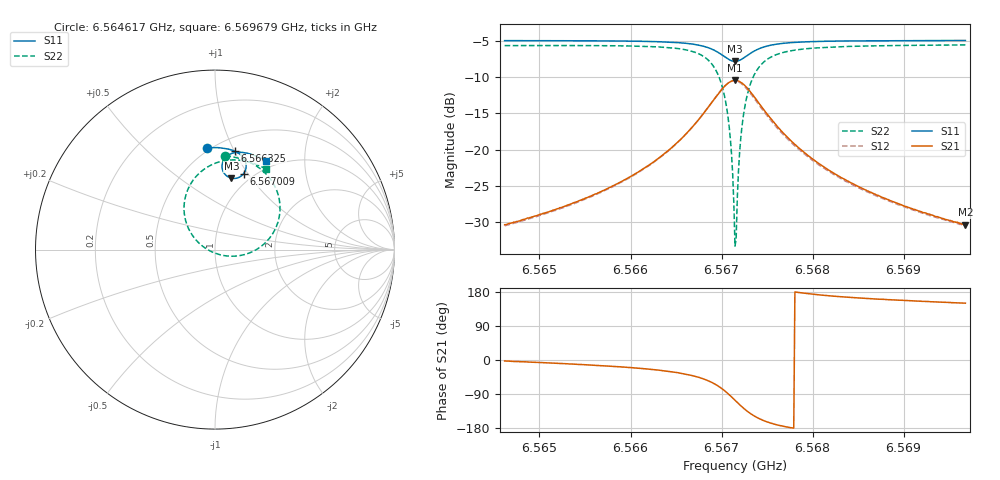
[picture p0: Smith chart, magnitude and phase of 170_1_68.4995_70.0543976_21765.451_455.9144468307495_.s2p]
#  HZ  S  RI  R  50.00
! Rohde & Schwarz Vector Network Analyzer
! Rohde-Schwarz,ZNB20-2Port,1311601062101988,3.16
! Created: UTC 3/20/2024, 5:11:18 PM
! freq[Hz]  re:S11  im:S11  re:S21  im:S21  re:S12  im:S12  re:S22  im:S22
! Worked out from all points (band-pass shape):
!   401 points, 6.564617 GHz to 6.569679 GHz, reference 50 ohm
!   highest |S21| = -10.41 dB at 6.567148 GHz (marker M1); lowest = -30.4 dB at 6.569679 GHz (marker M2)
!   |S21| within 3 dB of the highest: 6.566896 GHz to 6.567402 GHz (505.5 kHz wide, 0.0077 % of centre)
!   lowest |S11| = -7.8 dB at 6.567148 GHz (marker M3), VSWR 2.38, Z = 42.3 + j40.4 ohm
!   |S11| at or under -10 dB: nowhere
!   |S22| runs from -33.4 to -5.5 dB; largest |S21 - S12| = 0.015
!   S11 on the Smith chart (normalised r, x): 6.564617 GHz: 0.48, +0.81; 6.566325 GHz: 0.63, +1.01; 6.567009 GHz: 0.90, +0.95; 6.569679 GHz: 0.90, +1.31
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6.5646167e9  -0.0428 0.5674  0.0301 -0.00133  0.0295 -0.00191  0.0581 0.5228
6.5654647e9  0.0278 0.567  0.0439 -0.00933  0.0432 -0.00986  0.1414 0.5067
6.5663126e9  0.1099 0.5484  0.078 -0.0395  0.0768 -0.0405  0.2616 0.4432
6.5663252e9  0.1113 0.5477  0.0789 -0.0406  0.0777 -0.0414  0.2642 0.441
6.5666037e9  0.1449 0.5261  0.1013 -0.0769  0.0998 -0.0783  0.3243 0.3698
6.5668062e9  0.169 0.491  0.1145 -0.1379  0.1119 -0.1407  0.3614 0.2521
6.5669201e9  0.1729 0.4564  0.103 -0.1985  0.098 -0.2026  0.3449 0.1361
6.5670087e9  0.1591 0.4227  0.0622 -0.2563  0.0531 -0.2597  0.2698 0.0283
6.5670466e9  0.1457 0.4095  0.031 -0.2779  0.02 -0.2797  0.2116 -0.0103
6.5670846e9  0.1276 0.4  -0.00853 -0.2923  -0.0213 -0.2916  0.1387 -0.0333
6.5671099e9  0.1135 0.3968  -0.0381 -0.2956  -0.0515 -0.2929  0.0849 -0.0369
6.5671352e9  0.0988 0.3967  -0.0689 -0.2931  -0.082 -0.2879  0.0302 -0.0293
6.5671479e9  0.0913 0.398  -0.0841 -0.2896  -0.097 -0.2834  0.00372 -0.0211
6.5671732e9  0.0773 0.4029  -0.1128 -0.2784  -0.1247 -0.2697  -0.046 0.00275
6.5671985e9  0.0648 0.4107  -0.1384 -0.2617  -0.1486 -0.2513  -0.0885 0.0356
6.5672365e9  0.0504 0.426  -0.1683 -0.2301  -0.1755 -0.218  -0.1358 0.0951
6.5672871e9  0.0404 0.4496  -0.1907 -0.1837  -0.1939 -0.1713  -0.1677 0.1796
6.5673504e9  0.0402 0.477  -0.1967 -0.1303  -0.1964 -0.1196  -0.1692 0.2729
6.5675782e9  0.0782 0.5289  -0.1505 -0.029  -0.1471 -0.0243  -0.0659 0.444
6.5679958e9  0.1415 0.5422  -0.0859 0.00925  -0.0838 0.0106  0.0764 0.4985
6.5688437e9  0.2236 0.5232  -0.0416 0.0158  -0.0407 0.0163  0.2079 0.4827
6.569679e9  0.2865 0.4937  -0.026 0.015  -0.0254 0.0151  0.2849 0.4488
